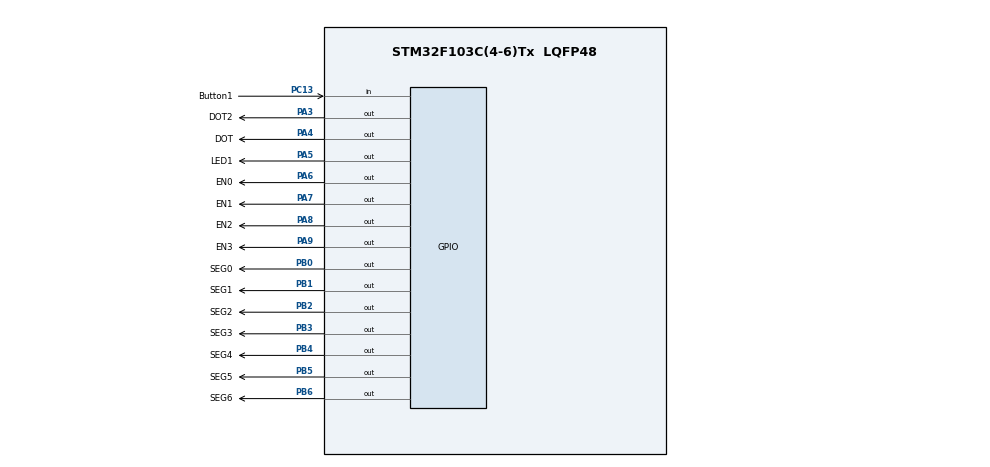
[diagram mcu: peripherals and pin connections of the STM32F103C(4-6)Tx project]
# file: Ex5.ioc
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Mcu.Family=STM32F1
Mcu.Name=STM32F103C(4-6)Tx
Mcu.Package=LQFP48
NVIC.PriorityGroup=NVIC_PRIORITYGROUP_4
NVIC.TIM2_IRQn=true\:0\:0\:false\:false\:true\:true\:true\:true
PA3.GPIO_Label=DOT2
PA3.Signal=GPIO_Output
PA4.GPIO_Label=DOT
PA4.Signal=GPIO_Output
PA5.GPIO_Label=LED1
PA5.Signal=GPIO_Output
PA6.GPIO_Label=EN0
PA6.Signal=GPIO_Output
PA7.GPIO_Label=EN1
PA7.Signal=GPIO_Output
PA8.GPIO_Label=EN2
PA8.Signal=GPIO_Output
PA9.GPIO_Label=EN3
PA9.Signal=GPIO_Output
PB0.GPIO_Label=SEG0
PB0.Signal=GPIO_Output
PB1.GPIO_Label=SEG1
PB1.Signal=GPIO_Output
PB2.GPIO_Label=SEG2
PB2.Signal=GPIO_Output
PB3.GPIO_Label=SEG3
PB3.Signal=GPIO_Output
PB4.GPIO_Label=SEG4
PB4.Signal=GPIO_Output
PB5.GPIO_Label=SEG5
PB5.Signal=GPIO_Output
PB6.GPIO_Label=SEG6
PB6.Signal=GPIO_Output
PC13-TAMPER-RTC.GPIO_Label=Button1
PC13-TAMPER-RTC.GPIO_PuPd=GPIO_PULLUP
PC13-TAMPER-RTC.Signal=GPIO_Input
ProjectManager.HeapSize=0x200
ProjectManager.StackSize=0x400
ProjectManager.TargetToolchain=STM32CubeIDE
RCC.APB1Freq_Value=8000000
RCC.APB2Freq_Value=8000000
TIM2.Period=9
TIM2.Prescaler=7999
VP_TIM2_VS_ClockSourceINT.Mode=Internal
board=custom

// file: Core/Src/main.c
/* USER CODE BEGIN Header */
/**
  ******************************************************************************
  * @file           : main.c
  * @brief          : Main program body
  ******************************************************************************
  * @attention
  *
  * Copyright (c) 2022 STMicroelectronics.
  * All rights reserved.
  *
  * This software is licensed under terms that can be found in the LICENSE file
  * in the root directory of this software component.
  * If no LICENSE file comes with this software, it is provided AS-IS.
  *
  ******************************************************************************
  */
/* USER CODE END Header */
#include "main.h"

/* USER CODE BEGIN Includes */
#include "Software_Timer.h"

/* USER CODE END Includes */

TIM_HandleTypeDef htim2;

void SystemClock_Config(void);
static void MX_GPIO_Init(void);
static void MX_TIM2_Init(void);

/* USER CODE BEGIN 0 */
void display7SEG(int num){

	switch(num) {
	  case 0:
	    	HAL_GPIO_WritePin(SEG0_GPIO_Port, SEG0_Pin, RESET);
	    	HAL_GPIO_WritePin(SEG1_GPIO_Port, SEG1_Pin, RESET);
	    	HAL_GPIO_WritePin(SEG2_GPIO_Port, SEG2_Pin, RESET);
	    	HAL_GPIO_WritePin(SEG3_GPIO_Port, SEG3_Pin, RESET);
	    	HAL_GPIO_WritePin(SEG4_GPIO_Port, SEG4_Pin, RESET);
	    	HAL_GPIO_WritePin(SEG5_GPIO_Port, SEG5_Pin, RESET);
	    	HAL_GPIO_WritePin(SEG6_GPIO_Port, SEG6_Pin, SET);
		  	break;
	  case 1:
		    HAL_GPIO_WritePin(SEG0_GPIO_Port, SEG0_Pin, SET);
	    	HAL_GPIO_WritePin(SEG1_GPIO_Port, SEG1_Pin, RESET);
		   	HAL_GPIO_WritePin(SEG2_GPIO_Port, SEG2_Pin, RESET);
		  	HAL_GPIO_WritePin(SEG3_GPIO_Port, SEG3_Pin, SET);
		  	HAL_GPIO_WritePin(SEG4_GPIO_Port, SEG4_Pin, SET);
		   	HAL_GPIO_WritePin(SEG5_GPIO_Port, SEG5_Pin, SET);
		   	HAL_GPIO_WritePin(SEG6_GPIO_Port, SEG6_Pin, SET);
		  	break;
	  case 2:
		    HAL_GPIO_WritePin(SEG0_GPIO_Port, SEG0_Pin, RESET);
		    HAL_GPIO_WritePin(SEG1_GPIO_Port, SEG1_Pin, RESET);
		    HAL_GPIO_WritePin(SEG2_GPIO_Port, SEG2_Pin, SET);
		    HAL_GPIO_WritePin(SEG3_GPIO_Port, SEG3_Pin, RESET);
		    HAL_GPIO_WritePin(SEG4_GPIO_Port, SEG4_Pin, RESET);
		    HAL_GPIO_WritePin(SEG5_GPIO_Port, SEG5_Pin, SET);
		    HAL_GPIO_WritePin(SEG6_GPIO_Port, SEG6_Pin, RESET);
		   	break;
	  case 3:
		  	HAL_GPIO_WritePin(SEG0_GPIO_Port, SEG0_Pin, RESET);
		    HAL_GPIO_WritePin(SEG1_GPIO_Port, SEG1_Pin, RESET);
		    HAL_GPIO_WritePin(SEG2_GPIO_Port, SEG2_Pin, RESET);
		    HAL_GPIO_WritePin(SEG3_GPIO_Port, SEG3_Pin, RESET);
		    HAL_GPIO_WritePin(SEG4_GPIO_Port, SEG4_Pin, SET);
		    HAL_GPIO_WritePin(SEG5_GPIO_Port, SEG5_Pin, SET);
		  	HAL_GPIO_WritePin(SEG6_GPIO_Port, SEG6_Pin, RESET);
		  	break;
	  case 4:
		  	HAL_GPIO_WritePin(SEG0_GPIO_Port, SEG0_Pin, SET);
		    HAL_GPIO_WritePin(SEG1_GPIO_Port, SEG1_Pin, RESET);
		    HAL_GPIO_WritePin(SEG2_GPIO_Port, SEG2_Pin, RESET);
		    HAL_GPIO_WritePin(SEG3_GPIO_Port, SEG3_Pin, SET);
		    HAL_GPIO_WritePin(SEG4_GPIO_Port, SEG4_Pin, SET);
		    HAL_GPIO_WritePin(SEG5_GPIO_Port, SEG5_Pin, RESET);
		    HAL_GPIO_WritePin(SEG6_GPIO_Port, SEG6_Pin, RESET);
		    break;
	  case 5:
		    HAL_GPIO_WritePin(SEG0_GPIO_Port, SEG0_Pin, RESET);
		    HAL_GPIO_WritePin(SEG1_GPIO_Port, SEG1_Pin, SET);
		    HAL_GPIO_WritePin(SEG2_GPIO_Port, SEG2_Pin, RESET);
		    HAL_GPIO_WritePin(SEG3_GPIO_Port, SEG3_Pin, RESET);
		    HAL_GPIO_WritePin(SEG4_GPIO_Port, SEG4_Pin, SET);
		    HAL_GPIO_WritePin(SEG5_GPIO_Port, SEG5_Pin, RESET);
		    HAL_GPIO_WritePin(SEG6_GPIO_Port, SEG6_Pin, RESET);
	  	    break;
	  case 6:
		  	HAL_GPIO_WritePin(SEG0_GPIO_Port, SEG0_Pin, RESET);
		    HAL_GPIO_WritePin(SEG1_GPIO_Port, SEG1_Pin, SET);
		    HAL_GPIO_WritePin(SEG2_GPIO_Port, SEG2_Pin, RESET);
		    HAL_GPIO_WritePin(SEG3_GPIO_Port, SEG3_Pin, RESET);
		    HAL_GPIO_WritePin(SEG4_GPIO_Port, SEG4_Pin, RESET);
		    HAL_GPIO_WritePin(SEG5_GPIO_Port, SEG5_Pin, RESET);
		    HAL_GPIO_WritePin(SEG6_GPIO_Port, SEG6_Pin, RESET);
		    break;
	  case 7:
	  		HAL_GPIO_WritePin(SEG0_GPIO_Port, SEG0_Pin, RESET);
	  		HAL_GPIO_WritePin(SEG1_GPIO_Port, SEG1_Pin, RESET);
	  	    HAL_GPIO_WritePin(SEG2_GPIO_Port, SEG2_Pin, RESET);
	  	    HAL_GPIO_WritePin(SEG3_GPIO_Port, SEG3_Pin, SET);
		    HAL_GPIO_WritePin(SEG4_GPIO_Port, SEG4_Pin, SET);
 		    HAL_GPIO_WritePin(SEG5_GPIO_Port, SEG5_Pin, SET);
		    HAL_GPIO_WritePin(SEG6_GPIO_Port, SEG6_Pin, SET);
	  		break;
	  case 8:
	    	HAL_GPIO_WritePin(SEG0_GPIO_Port, SEG0_Pin, RESET);
		    HAL_GPIO_WritePin(SEG1_GPIO_Port, SEG1_Pin, RESET);
		    HAL_GPIO_WritePin(SEG2_GPIO_Port, SEG2_Pin, RESET);
		    HAL_GPIO_WritePin(SEG3_GPIO_Port, SEG3_Pin, RESET);
	        HAL_GPIO_WritePin(SEG4_GPIO_Port, SEG4_Pin, RESET);
	  	    HAL_GPIO_WritePin(SEG5_GPIO_Port, SEG5_Pin, RESET);
		    HAL_GPIO_WritePin(SEG6_GPIO_Port, SEG6_Pin, RESET);
		    break;
	  case 9:
	  		HAL_GPIO_WritePin(SEG0_GPIO_Port, SEG0_Pin, RESET);
	  		HAL_GPIO_WritePin(SEG1_GPIO_Port, SEG1_Pin, RESET);
	  		HAL_GPIO_WritePin(SEG2_GPIO_Port, SEG2_Pin, RESET);
	  	    HAL_GPIO_WritePin(SEG3_GPIO_Port, SEG3_Pin, RESET);
	  	    HAL_GPIO_WritePin(SEG4_GPIO_Port, SEG4_Pin, SET);
		    HAL_GPIO_WritePin(SEG5_GPIO_Port, SEG5_Pin, RESET);
	  		HAL_GPIO_WritePin(SEG6_GPIO_Port, SEG6_Pin, RESET);
	  	    break;
	  default:
		  	break;
	}

}

const int MAX_LED = 4;
int index_led = 0;
int led_buffer [4] = {1 , 2 , 3 , 4};
void update7SEG ( int index ) {
	switch ( index ) {
		case 0:
			// Display the first 7 SEG with led_buffer [0]
			HAL_GPIO_WritePin(EN1_GPIO_Port, EN1_Pin, SET);
			HAL_GPIO_WritePin(EN2_GPIO_Port, EN2_Pin, SET);
			HAL_GPIO_WritePin(EN3_GPIO_Port, EN3_Pin, SET);
			display7SEG(led_buffer[0]);
			HAL_GPIO_WritePin(EN0_GPIO_Port, EN0_Pin, RESET);
		break ;
		case 1:
			// Display the second 7 SEG with led_buffer [1]
			HAL_GPIO_WritePin(EN0_GPIO_Port, EN0_Pin, SET);
			HAL_GPIO_WritePin(EN2_GPIO_Port, EN2_Pin, SET);
			HAL_GPIO_WritePin(EN3_GPIO_Port, EN3_Pin, SET);
			display7SEG(led_buffer[1]);
			HAL_GPIO_WritePin(EN1_GPIO_Port, EN1_Pin, RESET);
		break ;
		case 2:
			// Display the third 7 SEG with led_buffer [2]
			HAL_GPIO_WritePin(EN1_GPIO_Port, EN1_Pin, SET);
			HAL_GPIO_WritePin(EN0_GPIO_Port, EN0_Pin, SET);
			HAL_GPIO_WritePin(EN3_GPIO_Port, EN3_Pin, SET);
			display7SEG(led_buffer[2]);
			HAL_GPIO_WritePin(EN2_GPIO_Port, EN2_Pin, RESET);
		break ;
		case 3:
			// Display the forth 7 SEG with led_buffer [3]
			HAL_GPIO_WritePin(EN1_GPIO_Port, EN1_Pin, SET);
			HAL_GPIO_WritePin(EN2_GPIO_Port, EN2_Pin, SET);
			HAL_GPIO_WritePin(EN0_GPIO_Port, EN0_Pin, SET);
			display7SEG(led_buffer[3]);
			HAL_GPIO_WritePin(EN3_GPIO_Port, EN3_Pin, RESET);
		break ;
		default :
		break ;
	}
}

void updateClockBuffer(int hour, int minute){
	if (hour < 10){
		led_buffer[0] = 0;
		led_buffer[1] = hour;
	}
	else {
		led_buffer[0] = hour/10;
		led_buffer[1] = hour%10;
	}

	if (minute < 10){
		led_buffer[2] = 0;
		led_buffer[3] = minute;
	}
	else {
		led_buffer[2] = minute/10;
		led_buffer[3] = minute%10;
	}

}

/* USER CODE END 0 */

int main(void)
{

  /* MCU Configuration--------------------------------------------------------*/

  /* Reset of all peripherals, Initializes the Flash interface and the Systick. */
  HAL_Init();

  /* Configure the system clock */
  SystemClock_Config();

  /* Initialize all configured peripherals */
  MX_GPIO_Init();
  MX_TIM2_Init();
  /* USER CODE BEGIN 2 */
  HAL_TIM_Base_Start_IT(&htim2);

  HAL_GPIO_WritePin(EN0_GPIO_Port, EN0_Pin, SET);
  HAL_GPIO_WritePin(EN1_GPIO_Port, EN1_Pin, SET);
  HAL_GPIO_WritePin(EN2_GPIO_Port, EN2_Pin, SET);
  HAL_GPIO_WritePin(EN3_GPIO_Port, EN3_Pin, SET);

  /* USER CODE END 2 */

  /* Infinite loop */
  /* USER CODE BEGIN WHILE */
  int hour = 15 , minute = 59 , second = 50;

  while (1)
  {
	  second ++;
	  if ( second >= 60) {
		  second = 0;
		  minute ++;
	  }
	  if( minute >= 60) {
		  minute = 0;
		  hour ++;
	  }
	  if( hour >=24) {
		  hour = 0;
	  }
	  updateClockBuffer(hour, minute);
	  //HAL_GPIO_TogglePin(DOT2_GPIO_Port, DOT2_Pin);

	  HAL_Delay (1000) ;

    /* USER CODE END WHILE */

  }
}

void SystemClock_Config(void)
{
  RCC_OscInitTypeDef RCC_OscInitStruct = {0};
  RCC_ClkInitTypeDef RCC_ClkInitStruct = {0};

  /** Initializes the RCC Oscillators according to the specified parameters
  * in the RCC_OscInitTypeDef structure.
  */
  RCC_OscInitStruct.OscillatorType = RCC_OSCILLATORTYPE_HSI;
  RCC_OscInitStruct.HSIState = RCC_HSI_ON;
  RCC_OscInitStruct.HSICalibrationValue = RCC_HSICALIBRATION_DEFAULT;
  RCC_OscInitStruct.PLL.PLLState = RCC_PLL_NONE;
  if (HAL_RCC_OscConfig(&RCC_OscInitStruct) != HAL_OK)
  {
    Error_Handler();
  }

  /** Initializes the CPU, AHB and APB buses clocks
  */
  RCC_ClkInitStruct.ClockType = RCC_CLOCKTYPE_HCLK|RCC_CLOCKTYPE_SYSCLK
                              |RCC_CLOCKTYPE_PCLK1|RCC_CLOCKTYPE_PCLK2;
  RCC_ClkInitStruct.SYSCLKSource = RCC_SYSCLKSOURCE_HSI;
  RCC_ClkInitStruct.AHBCLKDivider = RCC_SYSCLK_DIV1;
  RCC_ClkInitStruct.APB1CLKDivider = RCC_HCLK_DIV1;
  RCC_ClkInitStruct.APB2CLKDivider = RCC_HCLK_DIV1;

  if (HAL_RCC_ClockConfig(&RCC_ClkInitStruct, FLASH_LATENCY_0) != HAL_OK)
  {
    Error_Handler();
  }
}

static void MX_TIM2_Init(void)
{

  TIM_ClockConfigTypeDef sClockSourceConfig = {0};
  TIM_MasterConfigTypeDef sMasterConfig = {0};

  htim2.Instance = TIM2;
  htim2.Init.Prescaler = 7999;
  htim2.Init.CounterMode = TIM_COUNTERMODE_UP;
  htim2.Init.Period = 9;
  htim2.Init.ClockDivision = TIM_CLOCKDIVISION_DIV1;
  htim2.Init.AutoReloadPreload = TIM_AUTORELOAD_PRELOAD_DISABLE;
  if (HAL_TIM_Base_Init(&htim2) != HAL_OK)
  {
    Error_Handler();
  }
  sClockSourceConfig.ClockSource = TIM_CLOCKSOURCE_INTERNAL;
  if (HAL_TIM_ConfigClockSource(&htim2, &sClockSourceConfig) != HAL_OK)
  {
    Error_Handler();
  }
  sMasterConfig.MasterOutputTrigger = TIM_TRGO_RESET;
  sMasterConfig.MasterSlaveMode = TIM_MASTERSLAVEMODE_DISABLE;
  if (HAL_TIMEx_MasterConfigSynchronization(&htim2, &sMasterConfig) != HAL_OK)
  {
    Error_Handler();
  }

}

static void MX_GPIO_Init(void)
{
  GPIO_InitTypeDef GPIO_InitStruct = {0};

  /* GPIO Ports Clock Enable */
  __HAL_RCC_GPIOC_CLK_ENABLE();
  __HAL_RCC_GPIOA_CLK_ENABLE();
  __HAL_RCC_GPIOB_CLK_ENABLE();

  /*Configure GPIO pin Output Level */
  HAL_GPIO_WritePin(GPIOA, DOT2_Pin|DOT_Pin|LED1_Pin|EN0_Pin
                          |EN1_Pin|EN2_Pin|EN3_Pin, GPIO_PIN_RESET);

  /*Configure GPIO pin Output Level */
  HAL_GPIO_WritePin(GPIOB, SEG0_Pin|SEG1_Pin|SEG2_Pin|SEG3_Pin
                          |SEG4_Pin|SEG5_Pin|SEG6_Pin, GPIO_PIN_RESET);

  /*Configure GPIO pin : Button1_Pin */
  GPIO_InitStruct.Pin = Button1_Pin;
  GPIO_InitStruct.Mode = GPIO_MODE_INPUT;
  GPIO_InitStruct.Pull = GPIO_PULLUP;
  HAL_GPIO_Init(Button1_GPIO_Port, &GPIO_InitStruct);

  /*Configure GPIO pins : DOT2_Pin DOT_Pin LED1_Pin EN0_Pin
                           EN1_Pin EN2_Pin EN3_Pin */
  GPIO_InitStruct.Pin = DOT2_Pin|DOT_Pin|LED1_Pin|EN0_Pin
                          |EN1_Pin|EN2_Pin|EN3_Pin;
  GPIO_InitStruct.Mode = GPIO_MODE_OUTPUT_PP;
  GPIO_InitStruct.Pull = GPIO_NOPULL;
  GPIO_InitStruct.Speed = GPIO_SPEED_FREQ_LOW;
  HAL_GPIO_Init(GPIOA, &GPIO_InitStruct);

  /*Configure GPIO pins : SEG0_Pin SEG1_Pin SEG2_Pin SEG3_Pin
                           SEG4_Pin SEG5_Pin SEG6_Pin */
  GPIO_InitStruct.Pin = SEG0_Pin|SEG1_Pin|SEG2_Pin|SEG3_Pin
                          |SEG4_Pin|SEG5_Pin|SEG6_Pin;
  GPIO_InitStruct.Mode = GPIO_MODE_OUTPUT_PP;
  GPIO_InitStruct.Pull = GPIO_NOPULL;
  GPIO_InitStruct.Speed = GPIO_SPEED_FREQ_LOW;
  HAL_GPIO_Init(GPIOB, &GPIO_InitStruct);

}

/* USER CODE BEGIN 4 */
int counter = 25;		//thiet lap he so
int led_index = 0;
int state = 0;

void HAL_TIM_PeriodElapsedCallback(TIM_HandleTypeDef *htim){

	if (led_index > 3) {
		led_index = 0;
		HAL_GPIO_TogglePin(DOT2_GPIO_Port, DOT2_Pin);
	}

	if (counter ==  1){
			//BEGIN-TODO

		update7SEG(led_index++);

			//END-TODO
		counter = 25;		// * thay doi he so *

	}
	else counter--;
}
/* USER CODE END 4 */

void Error_Handler(void)
{
  __disable_irq();
  while (1)
  {
  }
}
